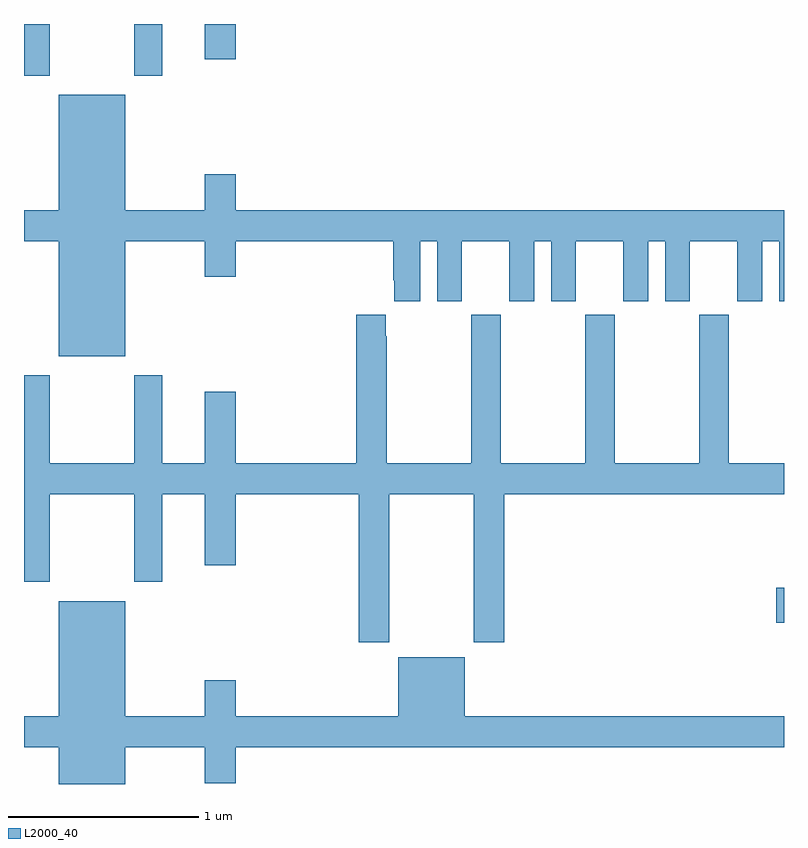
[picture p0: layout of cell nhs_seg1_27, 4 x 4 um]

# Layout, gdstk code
import gdstk
lib = gdstk.Library(unit=1e-6, precision=1e-09)
def R(c, l, rs):  # rectangles x0, y0, x1, y1
    for r in rs: c.add(gdstk.rectangle(r[:2], r[2:], *l))
def P(c, l, *ps):  # polygons
    for p in ps: c.add(gdstk.Polygon(p, *l))
L2000_40 = (2000, 40)

nhs_seg1_27 = lib.new_cell('nhs_seg1_27')
R(nhs_seg1_27, L2000_40, [(114.96,559.049,115,559.232), (111,561.927,111.135,562.199), (111.58,561.927,111.727,562.199), (111.95,562.014,112.114,562.199)])
P(nhs_seg1_27, L2000_40, [(111.532,561.056),(111.95,561.056),(111.95,560.868),(112.114,560.868),(112.114,561.056),(112.943,561.056),(112.943,560.851),(112.949,560.851),(112.949,560.739),(113.086,560.739),(113.086,561.056),(113.174,561.056),(113.174,560.739),(113.305,560.739),(113.305,561.056),(113.555,561.056),(113.555,560.739),(113.686,560.739),(113.686,561.056),(113.774,561.056),(113.774,560.739),(113.905,560.739),(113.905,561.056),(114.155,561.056),(114.155,560.739),(114.286,560.739),(114.286,561.056),(114.374,561.056),(114.374,560.739),(114.505,560.739),(114.505,561.056),(114.755,561.056),(114.755,560.739),(114.886,560.739),(114.886,561.056),(114.974,561.056),(114.974,560.739),(115,560.739),(115,561.22),(112.114,561.22),(112.114,561.409),(111.95,561.409),(111.95,561.22),(111.532,561.22),(111.532,561.826),(111.182,561.826),(111.182,561.22),(111,561.22),(111,561.056),(111.182,561.056),(111.182,560.45),(111.532,560.45)],
  [(112.923,559.724),(113.368,559.724),(113.368,558.945),(113.528,558.945),(113.528,559.724),(115,559.724),(115,559.888),(114.708,559.888),(114.708,560.668),(114.553,560.668),(114.553,559.888),(114.108,559.888),(114.108,560.668),(113.953,560.668),(113.953,559.888),(113.508,559.888),(113.508,560.668),(113.353,560.668),(113.353,559.888),(112.908,559.888),(112.908,560.555),(112.903,560.555),(112.903,560.668),(112.748,560.668),(112.748,559.888),(112.114,559.888),(112.114,560.263),(111.95,560.263),(111.95,559.888),(111.727,559.888),(111.727,560.35),(111.58,560.35),(111.58,559.888),(111.135,559.888),(111.135,560.35),(111,560.35),(111,559.263),(111.135,559.263),(111.135,559.724),(111.58,559.724),(111.58,559.263),(111.727,559.263),(111.727,559.724),(111.95,559.724),(111.95,559.35),(112.114,559.35),(112.114,559.724),(112.763,559.724),(112.763,558.945),(112.923,558.945)],
  [(111.532,558.392),(111.95,558.392),(111.95,558.204),(112.114,558.204),(112.114,558.392),(115,558.392),(115,558.556),(113.32,558.556),(113.32,558.865),(112.97,558.865),(112.97,558.556),(112.114,558.556),(112.114,558.745),(111.95,558.745),(111.95,558.556),(111.532,558.556),(111.532,559.162),(111.182,559.162),(111.182,558.556),(111,558.556),(111,558.392),(111.182,558.392),(111.182,558.199),(111.532,558.199)])

lib.write_gds('nhs_seg1_27.gds')
